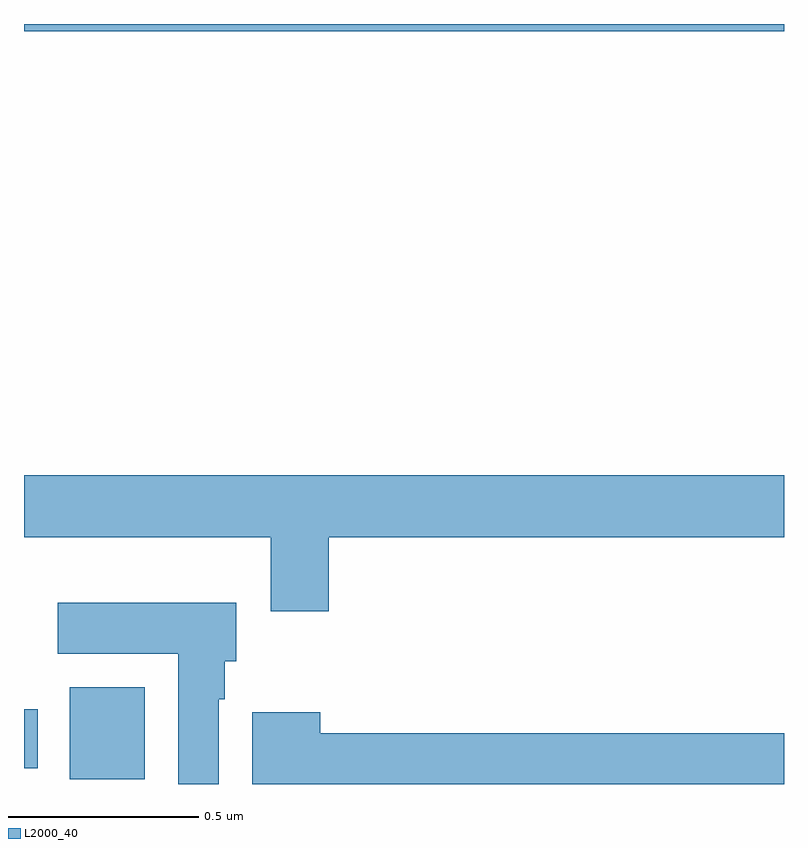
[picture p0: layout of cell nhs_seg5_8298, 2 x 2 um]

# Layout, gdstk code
import gdstk
lib = gdstk.Library(unit=1e-6, precision=1e-09)
def R(c, l, rs):  # rectangles x0, y0, x1, y1
    for r in rs: c.add(gdstk.rectangle(r[:2], r[2:], *l))
def P(c, l, *ps):  # polygons
    for p in ps: c.add(gdstk.Polygon(p, *l))
L2000_40 = (2000, 40)

nhs_seg5_8298 = lib.new_cell('nhs_seg5_8298')
R(nhs_seg5_8298, L2000_40, [(220.121,834.812,220.318,835.054), (220,834.84,220.036,834.996), (220,836.78,222,836.799)])
P(nhs_seg5_8298, L2000_40, [(220.802,835.448),(222,835.448),(222,835.612),(220,835.612),(220,835.448),(220.649,835.448),(220.649,835.254),(220.802,835.254)],
  [(220.513,835.022),(220.528,835.022),(220.528,835.122),(220.558,835.122),(220.558,835.276),(220.089,835.276),(220.089,835.142),(220.406,835.142),(220.406,834.799),(220.513,834.799)],
  [(222,834.932),(220.78,834.932),(220.78,834.988),(220.601,834.988),(220.601,834.799),(222,834.799)])

lib.write_gds('nhs_seg5_8298.gds')
